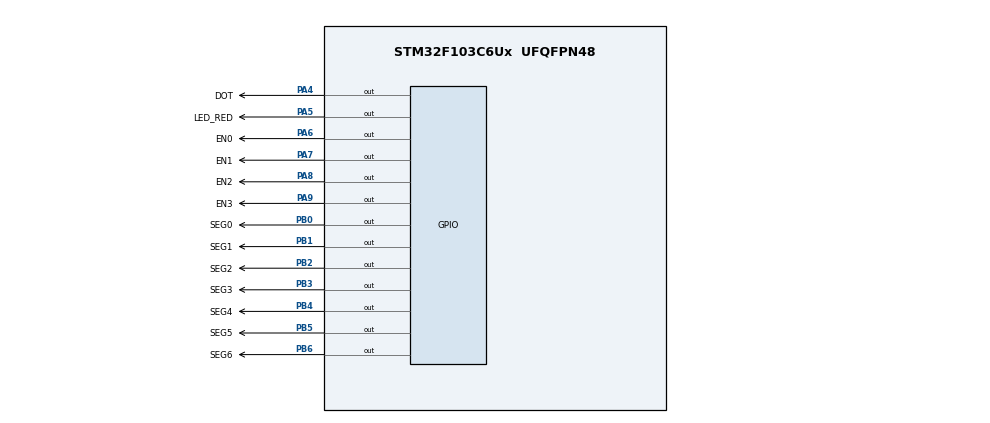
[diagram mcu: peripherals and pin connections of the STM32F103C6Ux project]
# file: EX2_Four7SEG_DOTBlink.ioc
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Mcu.Family=STM32F1
Mcu.Name=STM32F103C6Ux
Mcu.Package=UFQFPN48
NVIC.PriorityGroup=NVIC_PRIORITYGROUP_4
NVIC.TIM2_IRQn=true\:0\:0\:false\:false\:true\:true\:true
PA4.GPIO_Label=DOT
PA4.Signal=GPIO_Output
PA5.GPIO_Label=LED_RED
PA5.Signal=GPIO_Output
PA6.GPIO_Label=EN0
PA6.Signal=GPIO_Output
PA7.GPIO_Label=EN1
PA7.Signal=GPIO_Output
PA8.GPIO_Label=EN2
PA8.Signal=GPIO_Output
PA9.GPIO_Label=EN3
PA9.Signal=GPIO_Output
PB0.GPIO_Label=SEG0
PB0.Signal=GPIO_Output
PB1.GPIO_Label=SEG1
PB1.Signal=GPIO_Output
PB2.GPIO_Label=SEG2
PB2.Signal=GPIO_Output
PB3.GPIO_Label=SEG3
PB3.Signal=GPIO_Output
PB4.GPIO_Label=SEG4
PB4.Signal=GPIO_Output
PB5.GPIO_Label=SEG5
PB5.Signal=GPIO_Output
PB6.GPIO_Label=SEG6
PB6.Signal=GPIO_Output
ProjectManager.HeapSize=0x200
ProjectManager.StackSize=0x400
ProjectManager.TargetToolchain=STM32CubeIDE
RCC.APB1Freq_Value=8000000
RCC.APB2Freq_Value=8000000
TIM2.Period=9
TIM2.Prescaler=7999
VP_SYS_VS_ND.Mode=No_Debug
VP_TIM2_VS_ClockSourceINT.Mode=Internal
board=custom

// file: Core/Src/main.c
/* USER CODE BEGIN Header */
/**
  ******************************************************************************
  * @file           : main.c
  * @brief          : Main program body
  ******************************************************************************
  * @attention
  *
  * <h2><center>&copy; Copyright (c) 2025 STMicroelectronics.
  * All rights reserved.</center></h2>
  *
  * This software component is licensed by ST under BSD 3-Clause license,
  * the "License"; You may not use this file except in compliance with the
  * License. You may obtain a copy of the License at:
  *                        opensource.org/licenses/BSD-3-Clause
  *
  ******************************************************************************
  */
/* USER CODE END Header */
#include "main.h"
#include "software_timer.h"

TIM_HandleTypeDef htim2;

void SystemClock_Config(void);
static void MX_GPIO_Init(void);
static void MX_TIM2_Init(void);

/* USER CODE BEGIN PFP */
/**
 * @brief Hiển thị số trên màn hình 7 đoạn
 * @param num: Số cần hiển thị (0-9)
 */
void display7SEG(int num)
{
  // Tắt tất cả các đoạn LED trước (SET = tắt do logic nghịch đảo)
  HAL_GPIO_WritePin(GPIOB, SEG0_Pin | SEG1_Pin | SEG2_Pin | SEG3_Pin | SEG4_Pin | SEG5_Pin | SEG6_Pin, GPIO_PIN_SET);

  switch (num)
  {
  case 0: // Hiển thị số 0 - bật 6 đoạn (a,b,c,d,e,f)
    HAL_GPIO_WritePin(GPIOB, SEG0_Pin | SEG1_Pin | SEG2_Pin | SEG3_Pin | SEG4_Pin | SEG5_Pin, GPIO_PIN_RESET);
    break;
  case 1: // Hiển thị số 1 - chỉ bật 2 đoạn (b,c)
    HAL_GPIO_WritePin(GPIOB, SEG1_Pin | SEG2_Pin, GPIO_PIN_RESET);
    break;
  case 2: // Hiển thị số 2 - bật 5 đoạn (a,b,g,e,d)
    HAL_GPIO_WritePin(GPIOB, SEG0_Pin | SEG1_Pin | SEG3_Pin | SEG4_Pin | SEG6_Pin, GPIO_PIN_RESET);
    break;
  case 3: // Hiển thị số 3 - bật 5 đoạn (a,b,c,d,g)
    HAL_GPIO_WritePin(GPIOB, SEG0_Pin | SEG1_Pin | SEG2_Pin | SEG3_Pin | SEG6_Pin, GPIO_PIN_RESET);
    break;
  case 4: // Hiển thị số 4 - bật 4 đoạn (f,g,b,c)
    HAL_GPIO_WritePin(GPIOB, SEG1_Pin | SEG2_Pin | SEG5_Pin | SEG6_Pin, GPIO_PIN_RESET);
    break;
  case 5: // Hiển thị số 5 - bật 5 đoạn (a,f,g,c,d)
    HAL_GPIO_WritePin(GPIOB, SEG0_Pin | SEG2_Pin | SEG3_Pin | SEG5_Pin | SEG6_Pin, GPIO_PIN_RESET);
    break;
  case 6: // Hiển thị số 6 - bật 6 đoạn (a,f,g,e,d,c)
    HAL_GPIO_WritePin(GPIOB, SEG0_Pin | SEG2_Pin | SEG3_Pin | SEG4_Pin | SEG5_Pin | SEG6_Pin, GPIO_PIN_RESET);
    break;
  case 7: // Hiển thị số 7 - bật 3 đoạn (a,b,c)
    HAL_GPIO_WritePin(GPIOB, SEG0_Pin | SEG1_Pin | SEG2_Pin, GPIO_PIN_RESET);
    break;
  case 8: // Hiển thị số 8 - bật tất cả 7 đoạn
    HAL_GPIO_WritePin(GPIOB, SEG0_Pin | SEG1_Pin | SEG2_Pin | SEG3_Pin | SEG4_Pin | SEG5_Pin | SEG6_Pin, GPIO_PIN_RESET);
    break;
  case 9: // Hiển thị số 9 - bật 6 đoạn (a,b,c,d,f,g)
    HAL_GPIO_WritePin(GPIOB, SEG0_Pin | SEG1_Pin | SEG2_Pin | SEG3_Pin | SEG5_Pin | SEG6_Pin, GPIO_PIN_RESET);
    break;
  default:
    // Hiển thị gạch ngang (đoạn g) nếu số không hợp lệ
    HAL_GPIO_WritePin(GPIOB, SEG6_Pin, GPIO_PIN_RESET);
    break;
  }
}

/**
 * @brief Bật một LED 7-đoạn cụ thể (trong hệ thống 4 LED)
 * @param index: Vị trí LED cần bật (0, 1, 2, hoặc 3)
 */
void enableLED(int index)
{
  // Tắt tất cả LED trước (SET = tắt do transistor PNP)
  HAL_GPIO_WritePin(GPIOA, EN0_Pin | EN1_Pin | EN2_Pin | EN3_Pin, GPIO_PIN_SET);

  switch (index)
  {
  case 0:
    HAL_GPIO_WritePin(GPIOA, EN0_Pin, GPIO_PIN_RESET); // Bật LED đầu tiên
    break;
  case 1:
    HAL_GPIO_WritePin(GPIOA, EN1_Pin, GPIO_PIN_RESET); // Bật LED thứ hai
    break;
  case 2:
    HAL_GPIO_WritePin(GPIOA, EN2_Pin, GPIO_PIN_RESET); // Bật LED thứ ba
    break;
  case 3:
    HAL_GPIO_WritePin(GPIOA, EN3_Pin, GPIO_PIN_RESET); // Bật LED thứ tư
    break;
  default:
    break;
  }
}
/* USER CODE END PFP */

int currentLED = 0;  // Chỉ số LED hiện tại: từ 0 đến 3

/**
 * @brief Hàm callback được gọi khi timer tràn (mỗi 10ms)
 */
void HAL_TIM_PeriodElapsedCallback(TIM_HandleTypeDef *htim)
{
  if (htim->Instance == TIM2)
  {
    // Chạy các timer phần mềm mỗi 10ms
    timerRun();

    // -------- Quét 4 LED 7-đoạn mỗi 500ms --------
    if (isTimerExpired(0))
    {
      setTimer(0, 50); // Reset timer 0 (50 x 10ms = 500ms)

      // Chọn LED nào để hiển thị và hiển thị số gì
      switch (currentLED)
      {
      case 0:
        enableLED(0);     // Bật LED đầu tiên
        display7SEG(1);   // Hiển thị số 1
        break;
      case 1:
        enableLED(1);     // Bật LED thứ hai
        display7SEG(2);   // Hiển thị số 2
        break;
      case 2:
        enableLED(2);     // Bật LED thứ ba
        display7SEG(3);   // Hiển thị số 3
        break;
      case 3:
        enableLED(3);     // Bật LED thứ tư
        display7SEG(0);   // Hiển thị số 0
        break;
      default:
        // Trường hợp lỗi - hiển thị gạch ngang
        enableLED(currentLED);
        display7SEG(10);  // Hiển thị dấu "–"
        break;
      }
      // Chuyển sang LED tiếp theo - QUAN TRỌNG: Reset về 0 khi đạt 4
      ++currentLED;
      if (currentLED >= 4) {
        currentLED = 0;   // Quay lại LED đầu tiên
      }
    }

    // -------- Nhấp nháy LED chấm mỗi 1 giây --------
    if (isTimerExpired(1))
    {
      setTimer(1, 100); // Reset timer 1 (100 x 10ms = 1 giây)

      HAL_GPIO_TogglePin(GPIOA, DOT_Pin); // Đảo trạng thái LED chấm
    }

    // -------- Nhấp nháy LED đỏ mỗi 500ms --------
     if (isTimerExpired(2))
     {
       setTimer(2, 50); // Reset timer 2 (50 x 10ms = 500ms)

       HAL_GPIO_TogglePin(GPIOA, LED_RED_Pin); // Đảo trạng thái LED đỏ
     }
  }
}

/**
  * @brief  Hàm chính của chương trình
  * @retval int
  */
int main(void)
{

  /* Cấu hình MCU */

  /* Reset tất cả ngoại vi, khởi tạo Flash và Systick */
  HAL_Init();

  /* Cấu hình đồng hồ hệ thống */
  SystemClock_Config();

  /* Khởi tạo tất cả ngoại vi đã cấu hình */
  MX_GPIO_Init();   // Khởi tạo các chân GPIO
  MX_TIM2_Init();   // Khởi tạo Timer 2

  /* USER CODE BEGIN 2 */
  HAL_TIM_Base_Start_IT(&htim2);  // Bắt đầu Timer 2 với ngắt
  /* USER CODE END 2 */

  // Thiết lập các timer ban đầu
  setTimer(0, 5);   // Timer cho quét 7-segment (50ms)
  setTimer(1, 100); // Timer cho nhấp nháy chấm (1s)
  setTimer(2, 50);  // Timer cho nhấp nháy LED đỏ (500ms)

  /* Vòng lặp vô hạn */
  /* USER CODE BEGIN WHILE */
  while (1)
  {
    // Chương trình chính chạy ở đây
    // Tất cả xử lý được thực hiện trong hàm callback timer

    /* USER CODE END WHILE */
  }
}

void SystemClock_Config(void)
{
  RCC_OscInitTypeDef RCC_OscInitStruct = {0};
  RCC_ClkInitTypeDef RCC_ClkInitStruct = {0};

  /** Initializes the RCC Oscillators according to the specified parameters
  * in the RCC_OscInitTypeDef structure.
  */
  RCC_OscInitStruct.OscillatorType = RCC_OSCILLATORTYPE_HSI;
  RCC_OscInitStruct.HSIState = RCC_HSI_ON;
  RCC_OscInitStruct.HSICalibrationValue = RCC_HSICALIBRATION_DEFAULT;
  RCC_OscInitStruct.PLL.PLLState = RCC_PLL_NONE;
  if (HAL_RCC_OscConfig(&RCC_OscInitStruct) != HAL_OK)
  {
    Error_Handler();
  }
  /** Initializes the CPU, AHB and APB buses clocks
  */
  RCC_ClkInitStruct.ClockType = RCC_CLOCKTYPE_HCLK|RCC_CLOCKTYPE_SYSCLK
                              |RCC_CLOCKTYPE_PCLK1|RCC_CLOCKTYPE_PCLK2;
  RCC_ClkInitStruct.SYSCLKSource = RCC_SYSCLKSOURCE_HSI;
  RCC_ClkInitStruct.AHBCLKDivider = RCC_SYSCLK_DIV1;
  RCC_ClkInitStruct.APB1CLKDivider = RCC_HCLK_DIV1;
  RCC_ClkInitStruct.APB2CLKDivider = RCC_HCLK_DIV1;

  if (HAL_RCC_ClockConfig(&RCC_ClkInitStruct, FLASH_LATENCY_0) != HAL_OK)
  {
    Error_Handler();
  }
}

static void MX_TIM2_Init(void)
{

  TIM_ClockConfigTypeDef sClockSourceConfig = {0};
  TIM_MasterConfigTypeDef sMasterConfig = {0};

  htim2.Instance = TIM2;
  htim2.Init.Prescaler = 7999;
  htim2.Init.CounterMode = TIM_COUNTERMODE_UP;
  htim2.Init.Period = 9;
  htim2.Init.ClockDivision = TIM_CLOCKDIVISION_DIV1;
  htim2.Init.AutoReloadPreload = TIM_AUTORELOAD_PRELOAD_DISABLE;
  if (HAL_TIM_Base_Init(&htim2) != HAL_OK)
  {
    Error_Handler();
  }
  sClockSourceConfig.ClockSource = TIM_CLOCKSOURCE_INTERNAL;
  if (HAL_TIM_ConfigClockSource(&htim2, &sClockSourceConfig) != HAL_OK)
  {
    Error_Handler();
  }
  sMasterConfig.MasterOutputTrigger = TIM_TRGO_RESET;
  sMasterConfig.MasterSlaveMode = TIM_MASTERSLAVEMODE_DISABLE;
  if (HAL_TIMEx_MasterConfigSynchronization(&htim2, &sMasterConfig) != HAL_OK)
  {
    Error_Handler();
  }

}

static void MX_GPIO_Init(void)
{
  GPIO_InitTypeDef GPIO_InitStruct = {0};

  /* GPIO Ports Clock Enable */
  __HAL_RCC_GPIOA_CLK_ENABLE();
  __HAL_RCC_GPIOB_CLK_ENABLE();

  /*Configure GPIO pin Output Level */
  HAL_GPIO_WritePin(GPIOA, DOT_Pin|LED_RED_Pin|EN0_Pin|EN1_Pin
                          |EN2_Pin|EN3_Pin, GPIO_PIN_RESET);

  /*Configure GPIO pin Output Level */
  HAL_GPIO_WritePin(GPIOB, SEG0_Pin|SEG1_Pin|SEG2_Pin|SEG3_Pin
                          |SEG4_Pin|SEG5_Pin|SEG6_Pin, GPIO_PIN_RESET);

  /*Configure GPIO pins : DOT_Pin LED_RED_Pin EN0_Pin EN1_Pin
                           EN2_Pin EN3_Pin */
  GPIO_InitStruct.Pin = DOT_Pin|LED_RED_Pin|EN0_Pin|EN1_Pin
                          |EN2_Pin|EN3_Pin;
  GPIO_InitStruct.Mode = GPIO_MODE_OUTPUT_PP;
  GPIO_InitStruct.Pull = GPIO_NOPULL;
  GPIO_InitStruct.Speed = GPIO_SPEED_FREQ_LOW;
  HAL_GPIO_Init(GPIOA, &GPIO_InitStruct);

  /*Configure GPIO pins : SEG0_Pin SEG1_Pin SEG2_Pin SEG3_Pin
                           SEG4_Pin SEG5_Pin SEG6_Pin */
  GPIO_InitStruct.Pin = SEG0_Pin|SEG1_Pin|SEG2_Pin|SEG3_Pin
                          |SEG4_Pin|SEG5_Pin|SEG6_Pin;
  GPIO_InitStruct.Mode = GPIO_MODE_OUTPUT_PP;
  GPIO_InitStruct.Pull = GPIO_NOPULL;
  GPIO_InitStruct.Speed = GPIO_SPEED_FREQ_LOW;
  HAL_GPIO_Init(GPIOB, &GPIO_InitStruct);

}

void Error_Handler(void)
{
  __disable_irq();
  while (1)
  {
  }
}

/************************ (C) COPYRIGHT STMicroelectronics *****END OF FILE****/
